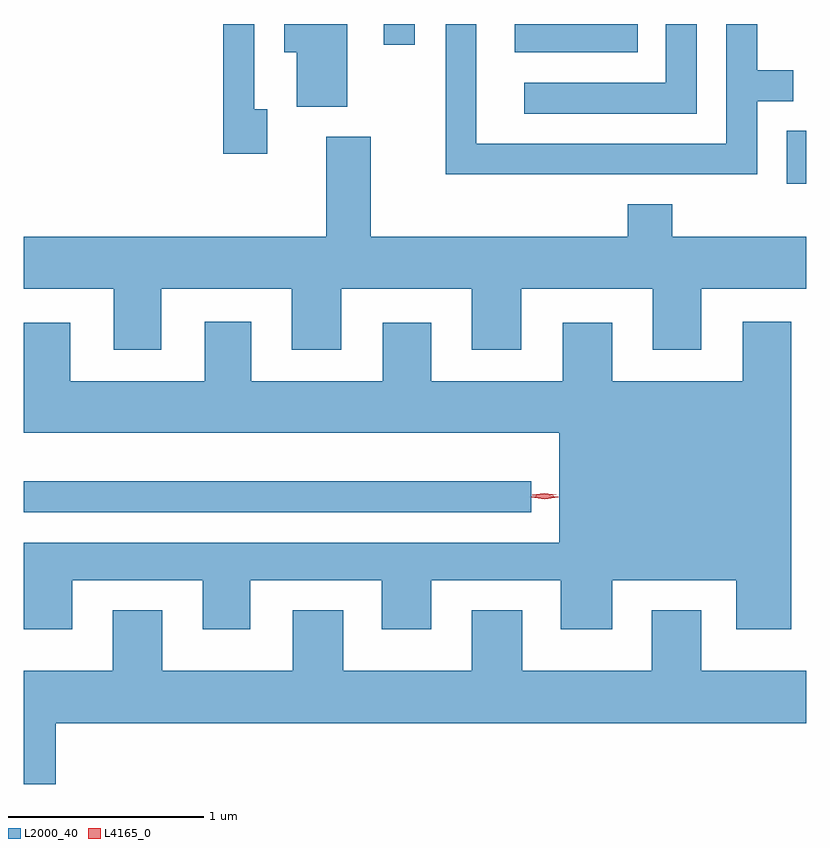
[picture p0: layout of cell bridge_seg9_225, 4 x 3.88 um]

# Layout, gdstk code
import gdstk
lib = gdstk.Library(unit=1e-6, precision=1e-09)
def R(c, l, rs):  # rectangles x0, y0, x1, y1
    for r in rs: c.add(gdstk.rectangle(r[:2], r[2:], *l))
def P(c, l, *ps):  # polygons
    for p in ps: c.add(gdstk.Polygon(p, *l))
L2000_40 = (2000, 40)
L4165_0 = (4165, 0)

bridge_seg9_225 = lib.new_cell('bridge_seg9_225')
R(bridge_seg9_225, L2000_40, [(1319.455,1984.016,1322.048,1984.174), (1323.356,1985.693,1323.455,1985.964), (1321.966,1986.366,1322.593,1986.51), (1321.296,1986.403,1321.454,1986.51)])
P(bridge_seg9_225, L2000_40, [(1321.109,1986.51),(1320.786,1986.51),(1320.786,1986.366),(1320.851,1986.366),(1320.851,1986.086),(1321.109,1986.086)],
  [(1320.699,1986.074),(1320.634,1986.074),(1320.634,1986.51),(1320.476,1986.51),(1320.476,1985.846),(1320.699,1985.846)],
  [(1322.894,1986.51),(1322.736,1986.51),(1322.736,1986.209),(1322.013,1986.209),(1322.013,1986.051),(1322.894,1986.051)],
  [(1323.204,1986.116),(1323.388,1986.116),(1323.388,1986.274),(1323.204,1986.274),(1323.204,1986.51),(1323.046,1986.51),(1323.046,1985.899),(1321.769,1985.899),(1321.769,1986.51),(1321.611,1986.51),(1321.611,1985.741),(1323.204,1985.741)],
  [(1320.159,1985.156),(1320.826,1985.156),(1320.826,1984.846),(1321.079,1984.846),(1321.079,1985.156),(1321.746,1985.156),(1321.746,1984.846),(1321.999,1984.846),(1321.999,1985.156),(1322.671,1985.156),(1322.671,1984.846),(1322.919,1984.846),(1322.919,1985.156),(1323.455,1985.156),(1323.455,1985.424),(1322.769,1985.424),(1322.769,1985.589),(1322.541,1985.589),(1322.541,1985.424),(1321.229,1985.424),(1321.229,1985.934),(1321.001,1985.934),(1321.001,1985.424),(1319.455,1985.424),(1319.455,1985.156),(1319.916,1985.156),(1319.916,1984.846),(1320.159,1984.846)],
  [(1319.704,1983.666),(1320.371,1983.666),(1320.371,1983.416),(1320.614,1983.416),(1320.614,1983.666),(1321.286,1983.666),(1321.286,1983.416),(1321.539,1983.416),(1321.539,1983.666),(1322.201,1983.666),(1322.201,1983.416),(1322.464,1983.416),(1322.464,1983.666),(1323.096,1983.666),(1323.096,1983.416),(1323.379,1983.416),(1323.379,1984.989),(1323.131,1984.989),(1323.131,1984.684),(1322.464,1984.684),(1322.464,1984.984),(1322.211,1984.984),(1322.211,1984.684),(1321.539,1984.684),(1321.539,1984.984),(1321.291,1984.984),(1321.291,1984.684),(1320.619,1984.684),(1320.619,1984.989),(1320.381,1984.989),(1320.381,1984.684),(1319.694,1984.684),(1319.694,1984.984),(1319.455,1984.984),(1319.455,1984.421),(1322.191,1984.421),(1322.191,1983.859),(1319.455,1983.859),(1319.455,1983.416),(1319.704,1983.416)],
  [(1319.619,1982.936),(1323.455,1982.936),(1323.455,1983.204),(1322.919,1983.204),(1322.919,1983.514),(1322.666,1983.514),(1322.666,1983.204),(1322.004,1983.204),(1322.004,1983.514),(1321.746,1983.514),(1321.746,1983.204),(1321.089,1983.204),(1321.089,1983.514),(1320.831,1983.514),(1320.831,1983.204),(1320.164,1983.204),(1320.164,1983.514),(1319.911,1983.514),(1319.911,1983.204),(1319.455,1983.204),(1319.455,1982.626),(1319.619,1982.626)])
P(bridge_seg9_225, L4165_0, [(1322.118,1984.082),(1322.05,1984.092),(1322.05,1984.092),(1322.05,1984.093),(1322.119,1984.102),(1322.187,1984.093),(1322.188,1984.092),(1322.187,1984.092)],
  [(1322.116,1984.093),(1322.053,1984.102),(1322.053,1984.103),(1322.053,1984.103),(1322.115,1984.113),(1322.177,1984.104),(1322.178,1984.103),(1322.177,1984.103)])

lib.write_gds('bridge_seg9_225.gds')
